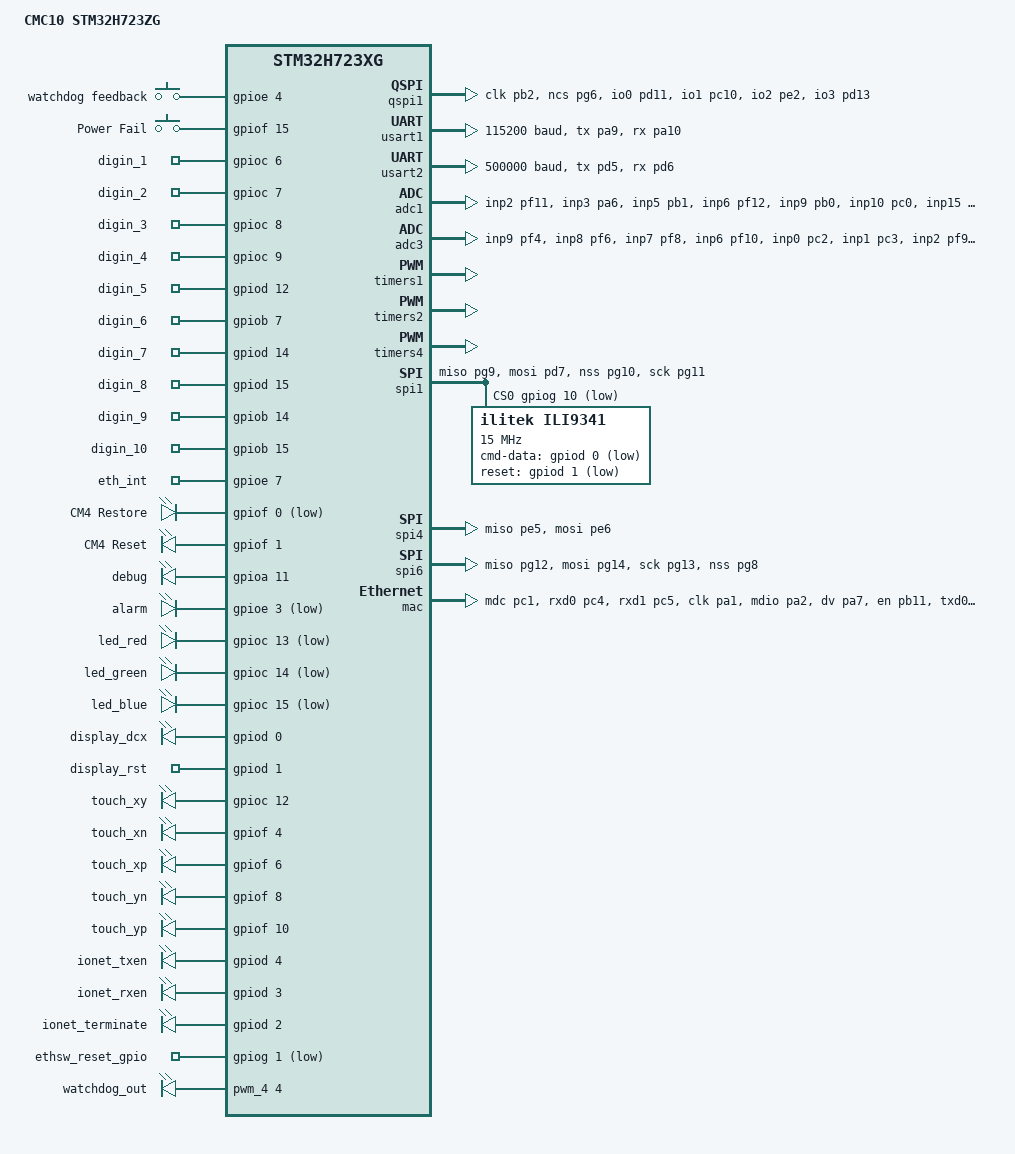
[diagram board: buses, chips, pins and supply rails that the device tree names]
/dts-v1/;
#include <st/h7/stm32h723Xg.dtsi>
#include <st/h7/stm32h723zgtx-pinctrl.dtsi>

/ {
    model = "CMC10 STM32H723ZG";
    compatible = "optima,cmc10_h723zg";

    chosen {
        zephyr,dtcm = &dtcm;
		zephyr,sram = &sram0;
		
        zephyr,flash = &flash0;
        zephyr,code-partition = &slot0_partition;

        zephyr,console = &usart1;
		zephyr,shell-uart = &usart1;
    };

    aliases {
        ionet-usart = &usart2;
        j101-usart= &usart1;
    };

    gpio_in {
        compatible = "gpio-keys";
        wdg_feedback: wdg_feedback {
            label = "watchdog feedback";
            gpios = <&gpioe 4 GPIO_ACTIVE_HIGH>;
        };
        power_fail: power_fail {
            label = "Power Fail";
            gpios = <&gpiof 15 GPIO_ACTIVE_HIGH>;
        };

        digin_1: digin_1 {
            label = "digin_1";
            gpios = <&gpioc 6 GPIO_ACTIVE_HIGH>;
        };
        digin_2: digin_2 {
            label = "digin_2";
            gpios = <&gpioc 7 GPIO_ACTIVE_HIGH>;
        };
        digin_3: digin_3 {
            label = "digin_3";
            gpios = <&gpioc 8 GPIO_ACTIVE_HIGH>;
        };
        digin_4: digin_4 {
            label = "digin_4";
            gpios = <&gpioc 9 GPIO_ACTIVE_HIGH>;
        };
        digin_5: digin_5 {
            label = "digin_5";
            gpios = <&gpiod 12 GPIO_ACTIVE_HIGH>;
        };
        digin_6: digin_6 {
            label = "digin_6";
            gpios = <&gpiob 7 GPIO_ACTIVE_HIGH>;
        };
        digin_7: digin_7 {
            label = "digin_7";
            gpios = <&gpiod 14 GPIO_ACTIVE_HIGH>;
        };
        digin_8: digin_8 {
            label = "digin_8";
            gpios = <&gpiod 15 GPIO_ACTIVE_HIGH>;
        };
        digin_9: digin_9 {
            label = "digin_9";
            gpios = <&gpiob 14 GPIO_ACTIVE_HIGH>;
        };
        digin_10: digin_10 {
            label = "digin_10";
            gpios = <&gpiob 15 GPIO_ACTIVE_HIGH>;
        };

        eth_int: eth_int {
            label = "eth_int";
            gpios = <&gpioe 7 GPIO_ACTIVE_HIGH>;
        };
    };

    gpio_out {
        compatible = "gpio-leds";
        cm4_restore: cm4_restore {
            label = "CM4 Restore";
            gpios = <&gpiof 0 GPIO_ACTIVE_LOW>;
        };
        cm4_reset: cm4_reset {
            label = "CM4 Reset";
            gpios = <&gpiof 1 GPIO_ACTIVE_HIGH>;
        };        
        debug: debug {
            label = "debug";
            gpios = <&gpioa 11 GPIO_ACTIVE_HIGH>;
        };
        alarm: alarm {
            label = "alarm";
            gpios = <&gpioe 3 GPIO_ACTIVE_LOW>;
        };

        led_red: led_red {
            label = "led_red";
            gpios = <&gpioc 13 (GPIO_ACTIVE_LOW | GPIO_OPEN_DRAIN)>;
        };
        led_green: led_green {
            label = "led_green";
            gpios = <&gpioc 14 (GPIO_ACTIVE_LOW | GPIO_OPEN_DRAIN)>;
        };
        led_blue: led_blue {
            label = "led_blue";
            gpios = <&gpioc 15 (GPIO_ACTIVE_LOW | GPIO_OPEN_DRAIN)>;
        };
        
        display_dcx: display_dcx {
            label = "display_dcx";
            gpios = <&gpiod 0 GPIO_ACTIVE_HIGH>;
        };
        display_rst: display_rst {
            label = "display_rst";
            gpios = <&gpiod 1 GPIO_ACTIVE_HIGH>;
        };
        touch_xy: touch_xy {
            label = "touch_xy";
            gpios = <&gpioc 12 GPIO_ACTIVE_HIGH>;
        };
        touch_xn: touch_xn {
            label = "touch_xn";
            gpios = <&gpiof 4 GPIO_ACTIVE_HIGH>;
        };
        touch_xp: touch_xp {
            label = "touch_xp";
            gpios = <&gpiof 6 GPIO_ACTIVE_HIGH>;
        };
        touch_yn: touch_yn {
            label = "touch_yn";
            gpios = <&gpiof 8 GPIO_ACTIVE_HIGH>;
        };
        touch_yp: touch_yp {
            label = "touch_yp";
            gpios = <&gpiof 10 GPIO_ACTIVE_HIGH>;
        };

        ionet_txen: ionet_txen {
            label = "ionet_txen";
			gpios = <&gpiod 4 (GPIO_PUSH_PULL | GPIO_ACTIVE_HIGH)>;
        };
		ionet_rxen: ionet_rxen {
			label = "ionet_rxen";
			gpios = <&gpiod 3 (GPIO_PUSH_PULL | GPIO_ACTIVE_HIGH)>;
		};
        ionet_terminate: ionet_terminate {
			label = "ionet_terminate";
			gpios = <&gpiod 2 GPIO_ACTIVE_HIGH>;
		};

        ethsw_reset_gpio: ethsw_reset_gpio {
            label = "ethsw_reset_gpio";
            gpios = <&gpiog 1 GPIO_ACTIVE_LOW>;
        };
    };
    
    soc {
		pinctrl: pin-controller@58020000 {
            quadspi_clk_pb2: quadspi_clk_pb2 {
				pinmux = <STM32_PINMUX('B', 2, AF9)>;   // P1
				slew-rate = "very-high-speed";
			};
            quadspi_ncs_pg6: quadspi_ncs_pg6 {
				pinmux = <STM32_PINMUX('G', 6, AF10)>;  // P1
				bias-pull-up;
			};
            quadspi_bk1_io0_pd11: quadspi_bk1_io0_pd11 {
				pinmux = <STM32_PINMUX('D', 11, AF9)>;  // P1
				bias-pull-down;
			};
            quadspi_bk1_io1_pc10: quadspi_bk1_io1_c10 {
				pinmux = <STM32_PINMUX('C', 10, AF9)>;  // P1
				bias-pull-down;
			};
            quadspi_bk1_io2_pe2: quadspi_bk1_io2_pe2 {
				pinmux = <STM32_PINMUX('E', 2, AF9)>;   // P1
				bias-pull-down;
			};
            quadspi_bk1_io3_pd13: quadspi_bk1_io3_pd13 {
				pinmux = <STM32_PINMUX('D', 13, AF9)>;  // P1
				bias-pull-down;
			};

            mco1_pa8: mco1_pa8 {
				pinmux = <STM32_PINMUX('A', 8, AF0)>;
				slew-rate = "very-high-speed";
			};
        };
    };

    pwm_out {
		compatible = "pwm-leds";

		watchdog_out: watchdog_out {
            /* On PB9 : Timer 4 Channel 4*/
			pwms = <&pwm_4 4 1 PWM_POLARITY_NORMAL>;
			label = "watchdog_out";
		};
	};

    qspi1: quadspi@5200B400{
        compatible = "st,stm32-qspi";
        reg = <0x5200B400 DT_SIZE_K(1024)>;
        label = "QSPI";
        pinctrl-0 = <
            &quadspi_clk_pb2
            &quadspi_ncs_pg6
            &quadspi_bk1_io0_pd11
            &quadspi_bk1_io1_pc10
            &quadspi_bk1_io2_pe2
            &quadspi_bk1_io3_pd13
        >;

        // Note: DMA needs to be configured
        dmas = <&dma1 5 5 0x0000 0x03>;        
        dma-names = "tx_rx";
        
        interrupt-parent = <&nvic>;
        interrupts = <92 0>;

        status = "okay";
    };

	aliases {
		wdg-feedback = &wdg_feedback;
		power-fail = &power_fail;
		din-1 = &digin_1;
		din-2 = &digin_2;
		din-3 = &digin_3;
		din-4 = &digin_4;
		din-5 = &digin_5;
		din-6 = &digin_6;
		din-7 = &digin_7;
		din-8 = &digin_8;
		din-9 = &digin_9;
		din-10 = &digin_10;
        eth-int = &eth_int;
        ethsw-reset-gpio = &ethsw_reset_gpio;

		cm4-restore = &cm4_restore;
		cm4-reset = &cm4_reset;
        debug = &debug;
        alarm = &alarm;
        led-red = &led_red;
        led-green = &led_green;
        led-blue = &led_blue;
        display-rst = &display_rst;
        ionet-txen = &ionet_txen;
		ionet-rxen = &ionet_rxen;
        ionet-terminate = &ionet_terminate;
	};
};

&usart1{
    pinctrl-0 = <
        &usart1_tx_pa9
        &usart1_rx_pa10
    >;
    current-speed = <115200>;
    status = "okay";
};

&usart2{
    pinctrl-0 = <
        &usart2_tx_pd5
        &usart2_rx_pd6
    >;
    current-speed = <500000>;
    status = "okay";
};

&adc1 {
    pinctrl-0 = <
        /* R_ADC In */
        &adc1_inp2_pf11
        &adc1_inp3_pa6
        &adc1_inp5_pb1
        &adc1_inp6_pf12
        &adc1_inp9_pb0
        &adc1_inp10_pc0
        &adc1_inp15_pa3
        &adc1_inp16_pa0
        &adc1_inp18_pa4

        /* ADC SP12V */
        &adc1_inp19_pa5
    >;
    status = "okay";
};

&adc2 {
    pinctrl-0 = <
        /* 24V Int */
        &adc2_inp2_pf13
        /* SP24V */
        &adc2_inp6_pf14
    >;

    /* disabled due to FOP-1677 */
    status = "disabled";
};

&adc3 {
    pinctrl-0 = <
        /* Display and Touch */
        &adc3_inp9_pf4
        &adc3_inp8_pf6
        &adc3_inp7_pf8
        &adc3_inp6_pf10

        /* U ADC In*/
        &adc3_inp0_pc2
        &adc3_inp1_pc3
        &adc3_inp2_pf9
        &adc3_inp3_pf7
        &adc3_inp4_pf5
        &adc3_inp5_pf3
    >;
    status = "okay";
};

&timers1 {
	status = "okay";

	pwm_1: pwm {
		status = "okay";
		st,prescaler = <10000>;
		pinctrl-0 = <
            /* Aout 1 -> 4 */
            &tim1_ch1_pe9
            &tim1_ch2_pe11
            &tim1_ch3_pe13
            &tim1_ch4_pe14
        >;
	};
};

&timers2 {
	status = "okay";

	pwm_2: pwm {
		status = "okay";
		st,prescaler = <0>;
		pinctrl-0 = <
            /* Aout 5 */
            &tim2_ch1_pa15
            /* Display Backlight */
            &tim2_ch3_pb10
        >;
	};
};

&timers4 {
	status = "okay";

	pwm_4: pwm {
		status = "okay";
		pinctrl-0 = <
            /* Watchdog Out */
            &tim4_ch4_pb9
        >;
	};
};

&spi1{
    compatible = "st,stm32-spi";
    status = "okay";
    pinctrl-0 = <
         &spi1_miso_pg9
         &spi1_mosi_pd7
         &spi1_nss_pg10
         &spi1_sck_pg11
    >;
    cs-gpios =	<&gpiog 10 GPIO_ACTIVE_LOW>;

    ili9341@0 {
        compatible = "ilitek,ili9341";
        label = "ILI9341";
        /* Minimum of 10MHz. 
         * Increasing to 20MHz seems to 
         * result in unreliable communication.
         * Could possibly increase speed with
         * in-depth analysis of unreliable
         * communication.
         */
        spi-max-frequency = <15000000>;
        reg = <0>;
        cmd-data-gpios = <&gpiod 0 GPIO_ACTIVE_LOW>;
        reset-gpios = <&gpiod 1 GPIO_ACTIVE_LOW>;
    };
};

&spi4{
    compatible = "st,stm32-spi";
    status = "okay";
    pinctrl-0 = <
         &spi4_miso_pe5
         &spi4_mosi_pe6
    >;    
};

&spi6{
    compatible = "st,stm32-spi";
    status = "okay";
    pinctrl-0 = <
         &spi6_miso_pg12
         &spi6_mosi_pg14
         &spi6_sck_pg13
         &spi6_nss_pg8
    >;
    cs-gpios =	<&gpiog 8 GPIO_ACTIVE_LOW>;

};

&mac {
    status = "okay";
    pinctrl-0 = < 
        &eth_mdc_pc1
        &eth_rxd0_pc4
        &eth_rxd1_pc5
        &eth_ref_clk_pa1
        &eth_mdio_pa2
        &eth_crs_dv_pa7
        &eth_tx_en_pb11
        &eth_txd0_pb12
        &eth_txd1_pb13
        &mco1_pa8
    >;
};

&flash0 {
    partitions {
 		compatible = "fixed-partitions";
 		#address-cells = <1>;
 		#size-cells = <1>;
 
		/* 48KB for bootloader */
 		boot_partition: partition@0 {
 			label = "mcuboot";
			reg = <0x00000000 0x0000C000>;
 			read-only;
 		};
 
		/* storage: 4KB for settings */
		/*
		 * The flash starting at 0x0000c000 and ending at
		 * 0x0000cfff is reserved for use
		 * by the application.
		 */
        storage_partition: partition@C000 {
            label = "storage";
            reg = <0x0000C000 0x00001000>;
        };

        /* 
         * Remaining size: 896kB
         * beware, when flashing the application,
         * openocd erases sector wise. As the H7 sector size is 128kB,
         * we need to start the application image slot at 128kB offset,
         * to prevent the boot_partition to be erased
         */
        /* application image slot: 448KB */
        slot0_partition: partition@20000 {
            label = "image-0";
            reg = <0x00020000 0x00070000>;
        };
        
        slot1_partition: partition@90000 {
            label = "image-1";
            reg = <0x00090000 0x00070000>;
        };
 	};
};
